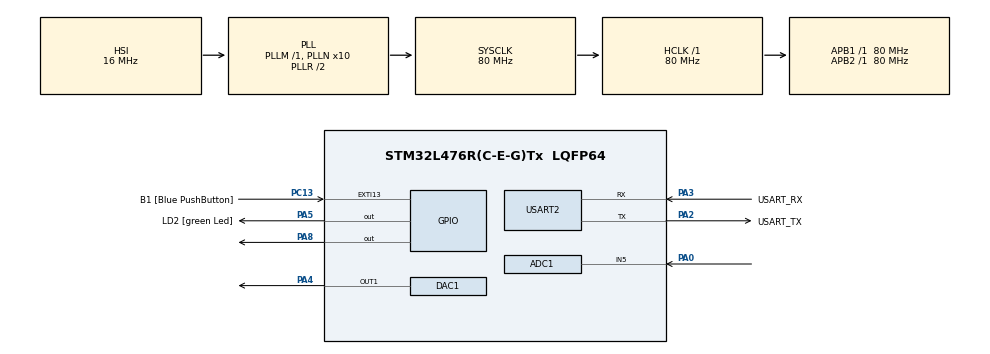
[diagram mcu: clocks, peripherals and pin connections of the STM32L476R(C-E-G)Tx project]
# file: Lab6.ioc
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ADC1.Channel-1\#ChannelRegularConversion=ADC_CHANNEL_5
ADC1.DMAContinuousRequests=ENABLE
ADC1.ExternalTrigConv=ADC_EXTERNALTRIG_T6_TRGO
ADC1.NbrOfConversionFlag=1
ADC1.OffsetNumber-1\#ChannelRegularConversion=ADC_OFFSET_NONE
ADC1.Rank-1\#ChannelRegularConversion=1
ADC1.SamplingTime-1\#ChannelRegularConversion=ADC_SAMPLETIME_2CYCLES_5
ADC1.master=1
DAC1.DAC_Trigger-DAC_OUT1=DAC_TRIGGER_T6_TRGO
Dma.ADC1.1.Direction=DMA_PERIPH_TO_MEMORY
Dma.ADC1.1.Instance=DMA1_Channel1
Dma.ADC1.1.MemDataAlignment=DMA_MDATAALIGN_HALFWORD
Dma.ADC1.1.MemInc=DMA_MINC_ENABLE
Dma.ADC1.1.Mode=DMA_CIRCULAR
Dma.ADC1.1.PeriphDataAlignment=DMA_PDATAALIGN_HALFWORD
Dma.ADC1.1.PeriphInc=DMA_PINC_DISABLE
Dma.ADC1.1.Priority=DMA_PRIORITY_HIGH
Dma.DAC_CH1.0.Direction=DMA_MEMORY_TO_PERIPH
Dma.DAC_CH1.0.Instance=DMA1_Channel3
Dma.DAC_CH1.0.MemDataAlignment=DMA_MDATAALIGN_HALFWORD
Dma.DAC_CH1.0.MemInc=DMA_MINC_ENABLE
Dma.DAC_CH1.0.Mode=DMA_CIRCULAR
Dma.DAC_CH1.0.PeriphDataAlignment=DMA_PDATAALIGN_HALFWORD
Dma.DAC_CH1.0.PeriphInc=DMA_PINC_DISABLE
Dma.DAC_CH1.0.Priority=DMA_PRIORITY_HIGH
Dma.Request0=DAC_CH1
Dma.Request1=ADC1
Mcu.Family=STM32L4
Mcu.Name=STM32L476R(C-E-G)Tx
Mcu.Package=LQFP64
NVIC.DMA1_Channel1_IRQn=true\:0\:0\:false\:false\:true\:false\:true\:true
NVIC.DMA1_Channel3_IRQn=true\:0\:0\:false\:false\:true\:false\:true\:true
NVIC.EXTI15_10_IRQn=true\:0\:0\:false\:false\:true\:true\:true\:true
NVIC.PriorityGroup=NVIC_PRIORITYGROUP_4
PA0.Signal=ADCx_IN5
PA13\ (JTMS-SWDIO).GPIO_Label=TMS
PA13\ (JTMS-SWDIO).Mode=Serial_Wire
PA13\ (JTMS-SWDIO).Signal=SYS_JTMS-SWDIO
PA14\ (JTCK-SWCLK).GPIO_Label=TCK
PA14\ (JTCK-SWCLK).Mode=Serial_Wire
PA14\ (JTCK-SWCLK).Signal=SYS_JTCK-SWCLK
PA2.GPIO_Label=USART_TX
PA2.GPIO_Mode=GPIO_MODE_AF_PP
PA2.GPIO_PuPd=GPIO_NOPULL
PA2.GPIO_Speed=GPIO_SPEED_FREQ_VERY_HIGH
PA2.Mode=Asynchronous
PA2.Signal=USART2_TX
PA3.GPIO_Label=USART_RX
PA3.GPIO_Mode=GPIO_MODE_AF_PP
PA3.GPIO_PuPd=GPIO_NOPULL
PA3.GPIO_Speed=GPIO_SPEED_FREQ_VERY_HIGH
PA3.Mode=Asynchronous
PA3.Signal=USART2_RX
PA4.Signal=COMP_DAC11_group
PA5.GPIO_Label=LD2 [green Led]
PA5.GPIO_ModeDefaultOutputPP=GPIO_MODE_OUTPUT_PP
PA5.GPIO_PuPd=GPIO_NOPULL
PA5.GPIO_Speed=GPIO_SPEED_FREQ_LOW
PA5.Signal=GPIO_Output
PA8.Signal=GPIO_Output
PB3\ (JTDO-TRACESWO).GPIO_Label=SWO
PB3\ (JTDO-TRACESWO).Signal=SYS_JTDO-SWO
PC13.GPIO_Label=B1 [Blue PushButton]
PC13.GPIO_ModeDefaultEXTI=GPIO_MODE_IT_RISING
PC13.GPIO_PuPd=GPIO_NOPULL
PC13.Signal=GPXTI13
PC14-OSC32_IN\ (PC14).Mode=LSE-External-Oscillator
PC14-OSC32_IN\ (PC14).Signal=RCC_OSC32_IN
PC15-OSC32_OUT\ (PC15).Mode=LSE-External-Oscillator
PC15-OSC32_OUT\ (PC15).Signal=RCC_OSC32_OUT
PH0-OSC_IN\ (PH0).Mode=HSE-External-Oscillator
PH0-OSC_IN\ (PH0).Signal=RCC_OSC_IN
PH1-OSC_OUT\ (PH1).Mode=HSE-External-Oscillator
PH1-OSC_OUT\ (PH1).Signal=RCC_OSC_OUT
ProjectManager.HeapSize=0x200
ProjectManager.StackSize=0x400
ProjectManager.TargetToolchain=STM32CubeIDE
RCC.ADCFreq_Value=64000000
RCC.AHBFreq_Value=80000000
RCC.APB1Freq_Value=80000000
RCC.APB1TimFreq_Value=80000000
RCC.APB2Freq_Value=80000000
RCC.APB2TimFreq_Value=80000000
RCC.CortexFreq_Value=80000000
RCC.HCLKFreq_Value=80000000
RCC.HSE_VALUE=8000000
RCC.HSI_VALUE=16000000
RCC.MSI_VALUE=4000000
RCC.PLLN=10
RCC.PLLSourceVirtual=RCC_PLLSOURCE_HSI
RCC.PREFETCH_ENABLE=1
RCC.SYSCLKFreq_VALUE=80000000
RCC.SYSCLKSource=RCC_SYSCLKSOURCE_PLLCLK
RCC.USBFreq_Value=64000000
RCC.VCOOutputFreq_Value=160000000
SH.ADCx_IN5.0=ADC1_IN5,IN5-Single-Ended
SH.COMP_DAC11_group.0=DAC1_OUT1,DAC_OUT1
TIM6.Period=49
TIM6.Prescaler=79
TIM6.TIM_MasterOutputTrigger=TIM_TRGO_UPDATE
USART2.VirtualMode-Asynchronous=VM_ASYNC
VP_TIM6_VS_ClockSourceINT.Mode=Enable_Timer
board=NUCLEO-L476RG

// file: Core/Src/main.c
/* USER CODE BEGIN Header */
/**
  ******************************************************************************
  * @file           : main.c
  * @brief          : Main program body
  ******************************************************************************
  * @attention
  *
  * Copyright (c) 2025 STMicroelectronics.
  * All rights reserved.
  *
  * This software is licensed under terms that can be found in the LICENSE file
  * in the root directory of this software component.
  * If no LICENSE file comes with this software, it is provided AS-IS.
  *
  ******************************************************************************
  */
/* USER CODE END Header */
#include "main.h"

/* USER CODE BEGIN Includes */
#include "math.h"
#include "arm_math.h"
/* USER CODE END Includes */

/* USER CODE BEGIN PD */
#define BUFFER_SIZE 20000
#define BUFFER_HALFSIZE BUFFER_SIZE / 2

/* USER CODE END PD */

ADC_HandleTypeDef hadc1;
DMA_HandleTypeDef hdma_adc1;

DAC_HandleTypeDef hdac1;
DMA_HandleTypeDef hdma_dac_ch1;

TIM_HandleTypeDef htim6;

UART_HandleTypeDef huart2;

/* USER CODE BEGIN PV */
uint16_t adc_buffer[BUFFER_SIZE];
uint16_t dac_buffer[BUFFER_SIZE];

/* USER CODE END PV */

void SystemClock_Config(void);
static void MX_GPIO_Init(void);
static void MX_DMA_Init(void);
static void MX_USART2_UART_Init(void);
static void MX_ADC1_Init(void);
static void MX_DAC1_Init(void);
static void MX_TIM6_Init(void);

int main(void)
{

  /* MCU Configuration--------------------------------------------------------*/

  /* Reset of all peripherals, Initializes the Flash interface and the Systick. */
  HAL_Init();

  /* Configure the system clock */
  SystemClock_Config();

  /* Initialize all configured peripherals */
  MX_GPIO_Init();
  MX_DMA_Init();
  MX_USART2_UART_Init();
  MX_ADC1_Init();
  MX_DAC1_Init();
  MX_TIM6_Init();

  /* USER CODE BEGIN 2 */
  HAL_TIM_Base_Start(&htim6);
  HAL_GPIO_WritePin(GPIOA, GPIO_PIN_8, GPIO_PIN_RESET);

  /* USER CODE END 2 */

  /* Infinite loop */
  while (1)
  {

  }
}

void SystemClock_Config(void)
{
  RCC_OscInitTypeDef RCC_OscInitStruct = {0};
  RCC_ClkInitTypeDef RCC_ClkInitStruct = {0};

  /** Configure the main internal regulator output voltage
  */
  if (HAL_PWREx_ControlVoltageScaling(PWR_REGULATOR_VOLTAGE_SCALE1) != HAL_OK)
  {
    Error_Handler();
  }

  /** Initializes the RCC Oscillators according to the specified parameters
  * in the RCC_OscInitTypeDef structure.
  */
  RCC_OscInitStruct.OscillatorType = RCC_OSCILLATORTYPE_HSI;
  RCC_OscInitStruct.HSIState = RCC_HSI_ON;
  RCC_OscInitStruct.HSICalibrationValue = RCC_HSICALIBRATION_DEFAULT;
  RCC_OscInitStruct.PLL.PLLState = RCC_PLL_ON;
  RCC_OscInitStruct.PLL.PLLSource = RCC_PLLSOURCE_HSI;
  RCC_OscInitStruct.PLL.PLLM = 1;
  RCC_OscInitStruct.PLL.PLLN = 10;
  RCC_OscInitStruct.PLL.PLLP = RCC_PLLP_DIV7;
  RCC_OscInitStruct.PLL.PLLQ = RCC_PLLQ_DIV2;
  RCC_OscInitStruct.PLL.PLLR = RCC_PLLR_DIV2;
  if (HAL_RCC_OscConfig(&RCC_OscInitStruct) != HAL_OK)
  {
    Error_Handler();
  }

  /** Initializes the CPU, AHB and APB buses clocks
  */
  RCC_ClkInitStruct.ClockType = RCC_CLOCKTYPE_HCLK|RCC_CLOCKTYPE_SYSCLK
                              |RCC_CLOCKTYPE_PCLK1|RCC_CLOCKTYPE_PCLK2;
  RCC_ClkInitStruct.SYSCLKSource = RCC_SYSCLKSOURCE_PLLCLK;
  RCC_ClkInitStruct.AHBCLKDivider = RCC_SYSCLK_DIV1;
  RCC_ClkInitStruct.APB1CLKDivider = RCC_HCLK_DIV1;
  RCC_ClkInitStruct.APB2CLKDivider = RCC_HCLK_DIV1;

  if (HAL_RCC_ClockConfig(&RCC_ClkInitStruct, FLASH_LATENCY_4) != HAL_OK)
  {
    Error_Handler();
  }
}

static void MX_ADC1_Init(void)
{

  ADC_MultiModeTypeDef multimode = {0};
  ADC_ChannelConfTypeDef sConfig = {0};

  /** Common config
  */
  hadc1.Instance = ADC1;
  hadc1.Init.ClockPrescaler = ADC_CLOCK_ASYNC_DIV1;
  hadc1.Init.Resolution = ADC_RESOLUTION_12B;
  hadc1.Init.DataAlign = ADC_DATAALIGN_RIGHT;
  hadc1.Init.ScanConvMode = ADC_SCAN_DISABLE;
  hadc1.Init.EOCSelection = ADC_EOC_SINGLE_CONV;
  hadc1.Init.LowPowerAutoWait = DISABLE;
  hadc1.Init.ContinuousConvMode = DISABLE;
  hadc1.Init.NbrOfConversion = 1;
  hadc1.Init.DiscontinuousConvMode = DISABLE;
  hadc1.Init.ExternalTrigConv = ADC_EXTERNALTRIG_T6_TRGO;
  hadc1.Init.ExternalTrigConvEdge = ADC_EXTERNALTRIGCONVEDGE_RISING;
  hadc1.Init.DMAContinuousRequests = ENABLE;
  hadc1.Init.Overrun = ADC_OVR_DATA_PRESERVED;
  hadc1.Init.OversamplingMode = DISABLE;
  if (HAL_ADC_Init(&hadc1) != HAL_OK)
  {
    Error_Handler();
  }

  /** Configure the ADC multi-mode
  */
  multimode.Mode = ADC_MODE_INDEPENDENT;
  if (HAL_ADCEx_MultiModeConfigChannel(&hadc1, &multimode) != HAL_OK)
  {
    Error_Handler();
  }

  /** Configure Regular Channel
  */
  sConfig.Channel = ADC_CHANNEL_5;
  sConfig.Rank = ADC_REGULAR_RANK_1;
  sConfig.SamplingTime = ADC_SAMPLETIME_2CYCLES_5;
  sConfig.SingleDiff = ADC_SINGLE_ENDED;
  sConfig.OffsetNumber = ADC_OFFSET_NONE;
  sConfig.Offset = 0;
  if (HAL_ADC_ConfigChannel(&hadc1, &sConfig) != HAL_OK)
  {
    Error_Handler();
  }

}

static void MX_DAC1_Init(void)
{

  DAC_ChannelConfTypeDef sConfig = {0};

  /** DAC Initialization
  */
  hdac1.Instance = DAC1;
  if (HAL_DAC_Init(&hdac1) != HAL_OK)
  {
    Error_Handler();
  }

  /** DAC channel OUT1 config
  */
  sConfig.DAC_SampleAndHold = DAC_SAMPLEANDHOLD_DISABLE;
  sConfig.DAC_Trigger = DAC_TRIGGER_T6_TRGO;
  sConfig.DAC_OutputBuffer = DAC_OUTPUTBUFFER_ENABLE;
  sConfig.DAC_ConnectOnChipPeripheral = DAC_CHIPCONNECT_DISABLE;
  sConfig.DAC_UserTrimming = DAC_TRIMMING_FACTORY;
  if (HAL_DAC_ConfigChannel(&hdac1, &sConfig, DAC_CHANNEL_1) != HAL_OK)
  {
    Error_Handler();
  }

}

static void MX_TIM6_Init(void)
{

  TIM_MasterConfigTypeDef sMasterConfig = {0};

  htim6.Instance = TIM6;
  htim6.Init.Prescaler = 79;
  htim6.Init.CounterMode = TIM_COUNTERMODE_UP;
  htim6.Init.Period = 49;
  htim6.Init.AutoReloadPreload = TIM_AUTORELOAD_PRELOAD_DISABLE;
  if (HAL_TIM_Base_Init(&htim6) != HAL_OK)
  {
    Error_Handler();
  }
  sMasterConfig.MasterOutputTrigger = TIM_TRGO_UPDATE;
  sMasterConfig.MasterSlaveMode = TIM_MASTERSLAVEMODE_DISABLE;
  if (HAL_TIMEx_MasterConfigSynchronization(&htim6, &sMasterConfig) != HAL_OK)
  {
    Error_Handler();
  }

}

static void MX_USART2_UART_Init(void)
{

  huart2.Instance = USART2;
  huart2.Init.BaudRate = 115200;
  huart2.Init.WordLength = UART_WORDLENGTH_8B;
  huart2.Init.StopBits = UART_STOPBITS_1;
  huart2.Init.Parity = UART_PARITY_NONE;
  huart2.Init.Mode = UART_MODE_TX_RX;
  huart2.Init.HwFlowCtl = UART_HWCONTROL_NONE;
  huart2.Init.OverSampling = UART_OVERSAMPLING_16;
  huart2.Init.OneBitSampling = UART_ONE_BIT_SAMPLE_DISABLE;
  huart2.AdvancedInit.AdvFeatureInit = UART_ADVFEATURE_NO_INIT;
  if (HAL_UART_Init(&huart2) != HAL_OK)
  {
    Error_Handler();
  }

}

static void MX_DMA_Init(void)
{

  /* DMA controller clock enable */
  __HAL_RCC_DMA1_CLK_ENABLE();

  /* DMA interrupt init */
  /* DMA1_Channel1_IRQn interrupt configuration */
  HAL_NVIC_SetPriority(DMA1_Channel1_IRQn, 0, 0);
  HAL_NVIC_EnableIRQ(DMA1_Channel1_IRQn);
  /* DMA1_Channel3_IRQn interrupt configuration */
  HAL_NVIC_SetPriority(DMA1_Channel3_IRQn, 0, 0);
  HAL_NVIC_EnableIRQ(DMA1_Channel3_IRQn);

}

static void MX_GPIO_Init(void)
{
  GPIO_InitTypeDef GPIO_InitStruct = {0};

  /* GPIO Ports Clock Enable */
  __HAL_RCC_GPIOC_CLK_ENABLE();
  __HAL_RCC_GPIOH_CLK_ENABLE();
  __HAL_RCC_GPIOA_CLK_ENABLE();
  __HAL_RCC_GPIOB_CLK_ENABLE();

  /*Configure GPIO pin Output Level */
  HAL_GPIO_WritePin(GPIOA, LD2_Pin|GPIO_PIN_8, GPIO_PIN_RESET);

  /*Configure GPIO pin : B1_Pin */
  GPIO_InitStruct.Pin = B1_Pin;
  GPIO_InitStruct.Mode = GPIO_MODE_IT_RISING;
  GPIO_InitStruct.Pull = GPIO_NOPULL;
  HAL_GPIO_Init(B1_GPIO_Port, &GPIO_InitStruct);

  /*Configure GPIO pins : LD2_Pin PA8 */
  GPIO_InitStruct.Pin = LD2_Pin|GPIO_PIN_8;
  GPIO_InitStruct.Mode = GPIO_MODE_OUTPUT_PP;
  GPIO_InitStruct.Pull = GPIO_NOPULL;
  GPIO_InitStruct.Speed = GPIO_SPEED_FREQ_LOW;
  HAL_GPIO_Init(GPIOA, &GPIO_InitStruct);

  /* EXTI interrupt init*/
  HAL_NVIC_SetPriority(EXTI15_10_IRQn, 0, 0);
  HAL_NVIC_EnableIRQ(EXTI15_10_IRQn);

}

/* USER CODE BEGIN 4 */
void HAL_GPIO_EXTI_Callback(uint16_t GPIO_Pin)
{
  HAL_ADC_Start_DMA(&hadc1, adc_buffer, BUFFER_SIZE);
}

void HAL_ADC_ConvHalfCpltCallback(ADC_HandleTypeDef *hadc) {
  HAL_ADC_Stop_DMA(&hadc1);
  HAL_GPIO_WritePin(GPIOA, GPIO_PIN_8, GPIO_PIN_SET);
  for (int n = 0; n < BUFFER_HALFSIZE; n++) {
    dac_buffer[n] = adc_buffer[n];
  }
}
void HAL_ADC_ConvCpltCallback(ADC_HandleTypeDef *hadc) {
  HAL_ADC_Stop_DMA(&hadc1);
  HAL_GPIO_WritePin(GPIOA, GPIO_PIN_8, GPIO_PIN_SET);
  for (int n = BUFFER_HALFSIZE; n < BUFFER_SIZE; n++) {
    dac_buffer[n] = adc_buffer[n];
  }
}
void HAL_DAC_ConvHalfCpltCallbackCh1(DAC_HandleTypeDef *hdac)
{
}
void HAL_DAC_ConvCpltCallbackCh1(DAC_HandleTypeDef *hdac)
{
}

/* USER CODE END 4 */

void Error_Handler(void)
{
  __disable_irq();
  while (1)
  {
  }
}
